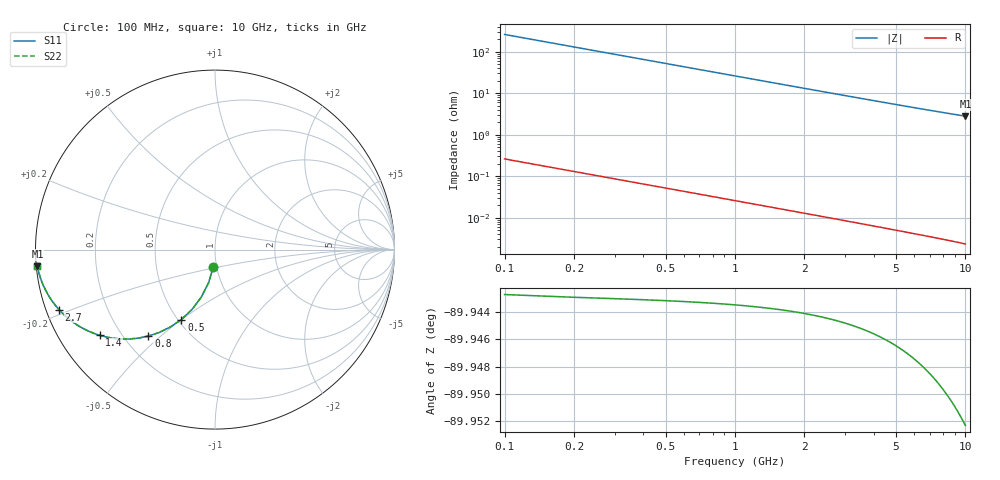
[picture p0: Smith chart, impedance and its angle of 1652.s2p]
# Hz S RI R 50.00
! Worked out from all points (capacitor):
!   100 points, 100 MHz to 10 GHz, reference 50 ohm
!   read as one part in shunt: C = 6.12 pF near 100 MHz
!   lowest |Z| = 2.8 ohm at 10 GHz (marker M1)
!   S11 on the Smith chart (normalised r, x): 100 MHz: 0.96, -0.19; 500 MHz: 0.52, -0.50; 800 MHz: 0.30, -0.46; 1.4 GHz: 0.12, -0.33; 2.7 GHz: 0.04, -0.19; 10 GHz: 0.00, -0.05
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1e8  -0.00922 -0.0951  0.9907 -0.0953  0.9907 -0.0953  -0.00922 -0.0951
2e8  -0.0358 -0.185  0.9642 -0.1854  0.9642 -0.1854  -0.0358 -0.185
3e8  -0.0769 -0.2657  0.9231 -0.2662  0.9231 -0.2662  -0.0769 -0.2657
4e8  -0.1288 -0.3342  0.8711 -0.3349  0.8711 -0.3349  -0.1288 -0.3342
5e8  -0.1876 -0.3895  0.8124 -0.3903  0.8124 -0.3903  -0.1876 -0.3895
6e8  -0.2494 -0.4316  0.7506 -0.4327  0.7506 -0.4327  -0.2494 -0.4316
7e8  -0.3112 -0.4619  0.6887 -0.4631  0.6887 -0.4631  -0.3112 -0.4619
8e8  -0.371 -0.4819  0.629 -0.4833  0.629 -0.4833  -0.371 -0.4819
9e8  -0.4273 -0.4934  0.5727 -0.495  0.5727 -0.495  -0.4273 -0.4934
1.1e9  -0.5268 -0.4978  0.4732 -0.4997  0.4732 -0.4997  -0.5268 -0.4978
1.2e9  -0.5697 -0.4936  0.4302 -0.4956  0.4302 -0.4956  -0.5697 -0.4936
1.4e9  -0.6429 -0.4774  0.357 -0.4798  0.357 -0.4798  -0.6429 -0.4774
1.6e9  -0.7014 -0.4557  0.2985 -0.4585  0.2985 -0.4585  -0.7014 -0.4557
1.8e9  -0.7482 -0.432  0.2518 -0.4351  0.2518 -0.4351  -0.7482 -0.432
2.2e9  -0.8159 -0.3852  0.1841 -0.389  0.1841 -0.389  -0.8159 -0.3852
2.7e9  -0.8695 -0.334  0.1305 -0.3387  0.1305 -0.3387  -0.8695 -0.334
3.4e9  -0.9134 -0.2778  0.0866 -0.2837  0.0866 -0.2837  -0.9134 -0.2778
4.2e9  -0.9414 -0.2305  0.0585 -0.2379  0.0585 -0.2379  -0.9414 -0.2305
5.1e9  -0.9595 -0.1919  0.0404 -0.2009  0.0404 -0.2009  -0.9595 -0.1919
6.7e9  -0.9762 -0.1457  0.0237 -0.1576  0.0237 -0.1576  -0.9762 -0.1457
8.4e9  -0.9848 -0.1138  0.015 -0.1289  0.015 -0.1289  -0.9848 -0.1138
1e10  -0.9893 -0.0925  0.0105 -0.1108  0.0105 -0.1108  -0.9893 -0.0925
